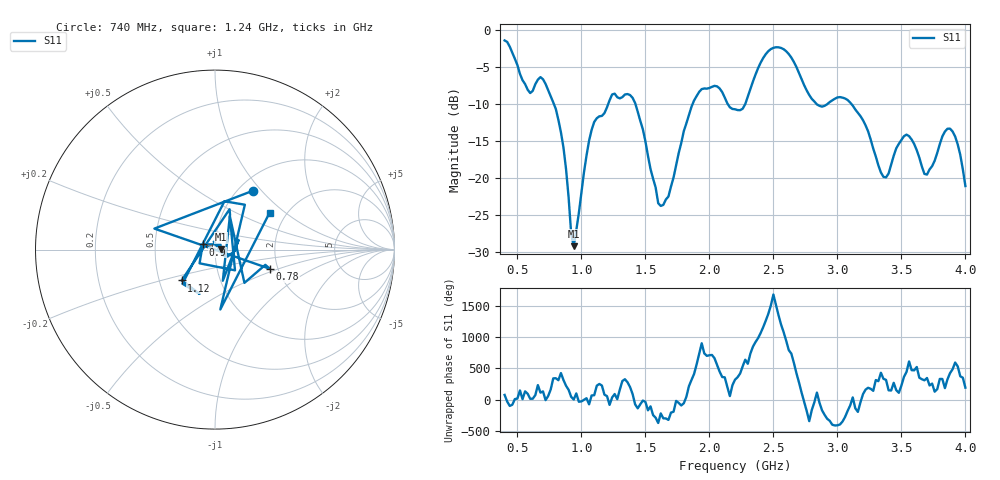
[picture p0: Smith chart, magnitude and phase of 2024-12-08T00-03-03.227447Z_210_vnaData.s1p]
!Created with skrf (http://scikit-rf.org).
# Hz S RI R 50.0
!freq ReS11 ImS11
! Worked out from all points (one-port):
!   181 points, 400 MHz to 4 GHz, reference 50 ohm
!   lowest |S11| = -29.2 dB at 940 MHz (marker M1), VSWR 1.07, Z = 53.6 + j0.108 ohm
!   |S11| at or under -10 dB: 784.9 MHz to 1.209 GHz (424.6 MHz wide, 42.6 % of centre); 1.422 GHz to 1.869 GHz (447 MHz wide, 27.2 % of centre); 3.109 GHz to end of sweep (the widest 3 of 5)
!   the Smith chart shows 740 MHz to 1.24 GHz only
!   S11 on the Smith chart (normalised r, x): 740 MHz: 1.17, +0.91; 780 MHz: 1.81, -0.43; 900 MHz: 0.87, +0.05; 1.12 GHz: 0.65, -0.24; 1.24 GHz: 1.64, +0.78
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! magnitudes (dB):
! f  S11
! 400 MHz  -1.4
! 600 MHz  -8.5
! 680 MHz  -6.4
! 740 MHz  -8.1
! 780 MHz  -9.8
! 860 MHz  -15.9
! 900 MHz  -22.6
! 940 MHz  -29.2
! 1.06 GHz  -14.9
! 1.12 GHz  -11.9
! 1.24 GHz  -8.7
! 1.3 GHz  -9.2
! 1.42 GHz  -9.9
! 1.62 GHz  -23.7
! 1.68 GHz  -22.5
! 1.76 GHz  -16.6
! 1.94 GHz  -8.0
! 2.2 GHz  -10.7
! 2.48 GHz  -2.6
! 2.66 GHz  -4.3
! 2.84 GHz  -10.1
! 3.1 GHz  -9.8
! 3.36 GHz  -19.8
! 3.56 GHz  -14.3
! 3.7 GHz  -19.5
! 3.88 GHz  -13.3
! 3.94 GHz  -15.4
! 4 GHz  -21.1
